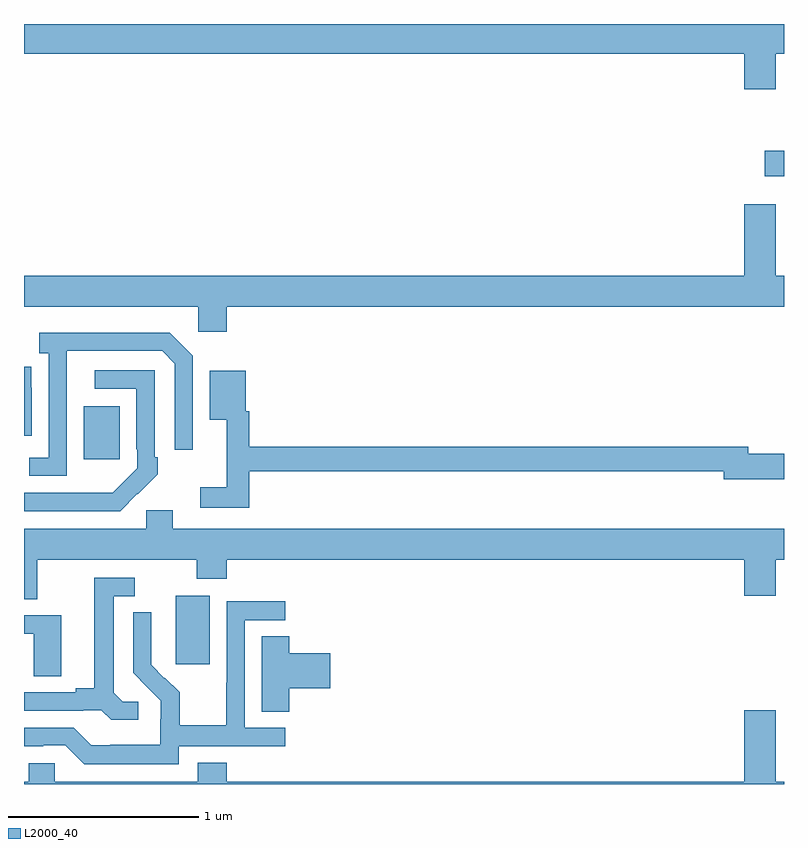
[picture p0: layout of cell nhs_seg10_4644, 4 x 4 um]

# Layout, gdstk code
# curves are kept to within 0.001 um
import gdstk
lib = gdstk.Library(unit=1e-6, precision=1e-09)
def R(c, l, rs):  # rectangles x0, y0, x1, y1
    for r in rs: c.add(gdstk.rectangle(r[:2], r[2:], *l))
def P(c, l, *ps):  # polygons
    for p in ps: c.add(gdstk.Polygon(p, *l))
L2000_40 = (2000, 40)

nhs_seg10_4644 = lib.new_cell('nhs_seg10_4644')
R(nhs_seg10_4644, L2000_40, [(377.798,1269.129,377.977,1269.49), (377.315,1270.209,377.503,1270.489), (380.898,1271.699,381,1271.834)])
P(nhs_seg10_4644, L2000_40, [(380.956,1272.344),(381,1272.344),(381,1272.5),(377,1272.5),(377,1272.344),(380.792,1272.344),(380.792,1272.156),(380.956,1272.156)],
  [(378.068,1271.012),(381,1271.012),(381,1271.176),(380.956,1271.176),(380.956,1271.551),(380.792,1271.551),(380.792,1271.176),(377,1271.176),(377,1271.012),(377.916,1271.012),(377.916,1270.881),(378.068,1270.881)],
  [(377.226,1270.779),(377.727,1270.779),(377.793,1270.713),(377.793,1270.26),(377.889,1270.26),(377.889,1270.755),(377.768,1270.876),(377.079,1270.876),(377.079,1270.766),(377.13,1270.766),(377.13,1270.218),(377.028,1270.218),(377.028,1270.122),(377.226,1270.122)],
  [(377.04,1270.586),(377.039,1270.586),(377.039,1270.695),(377,1270.695),(377,1270.332),(377.04,1270.332)],
  [(377.597,1270.027),(377.598,1270.026),(377.703,1270.131),(377.703,1270.219),(377.688,1270.219),(377.688,1270.677),(377.373,1270.677),(377.373,1270.581),(377.592,1270.581),(377.592,1270.261),(377.595,1270.261),(377.595,1270.161),(377.467,1270.033),(377,1270.032),(377,1269.936),(377.506,1269.936)],
  [(378.185,1270.146),(380.684,1270.146),(380.684,1270.103),(381,1270.103),(381,1270.238),(380.812,1270.238),(380.812,1270.274),(378.185,1270.274),(378.185,1270.461),(378.166,1270.461),(378.166,1270.675),(377.978,1270.675),(377.978,1270.418),(378.068,1270.418),(378.068,1270.063),(377.928,1270.063),(377.928,1269.954),(378.185,1269.954)],
  [(377.071,1269.68),(377.908,1269.68),(377.908,1269.581),(378.068,1269.581),(378.068,1269.68),(380.792,1269.68),(380.792,1269.492),(380.956,1269.492),(380.956,1269.68),(381,1269.68),(381,1269.844),(377.782,1269.844),(377.782,1269.942),(377.643,1269.942),(377.643,1269.844),(377,1269.844),(377,1269.472),(377.071,1269.472)],
  [(377.602,1268.934),(377.52,1268.934),(377.473,1268.981),(377.473,1269.489),(377.584,1269.489),(377.584,1269.585),(377.369,1269.585),(377.369,1269.005),(377.273,1269.005),(377.273,1268.982),(377,1268.982),(377,1268.886),(377.312,1268.886),(377.312,1268.889),(377.406,1268.889),(377.458,1268.837),(377.602,1268.837)],
  [(377.814,1268.7),(378.376,1268.7),(378.376,1268.796),(378.162,1268.796),(378.162,1269.363),(378.376,1269.363),(378.376,1269.462),(378.066,1269.462),(378.066,1269.032),(378.064,1269.032),(378.064,1268.809),(377.819,1268.809),(377.819,1268.983),(377.742,1269.06),(377.739,1269.057),(377.669,1269.128),(377.67,1269.404),(377.574,1269.404),(377.574,1269.086),(377.72,1268.938),(377.72,1268.841),(377.718,1268.841),(377.718,1268.707),(377.455,1268.707),(377.455,1268.703),(377.355,1268.703),(377.262,1268.796),(377,1268.796),(377,1268.7),(377.102,1268.7),(377.102,1268.703),(377.217,1268.703),(377.317,1268.603),(377.814,1268.603)],
  [(377.197,1269.387),(377,1269.387),(377,1269.291),(377.052,1269.291),(377.052,1269.067),(377.197,1269.067)],
  [(378.395,1269.005),(378.613,1269.005),(378.613,1269.188),(378.395,1269.188),(378.395,1269.278),(378.251,1269.278),(378.251,1268.881),(378.395,1268.881)],
  [(381,1268.512),(380.956,1268.512),(380.956,1268.887),(380.792,1268.887),(380.792,1268.512),(378.068,1268.512),(378.068,1268.611),(377.915,1268.611),(377.915,1268.512),(377.163,1268.512),(377.163,1268.61),(377.025,1268.61),(377.025,1268.512),(377,1268.512),(377,1268.5),(381,1268.5)])

lib.write_gds('nhs_seg10_4644.gds')
